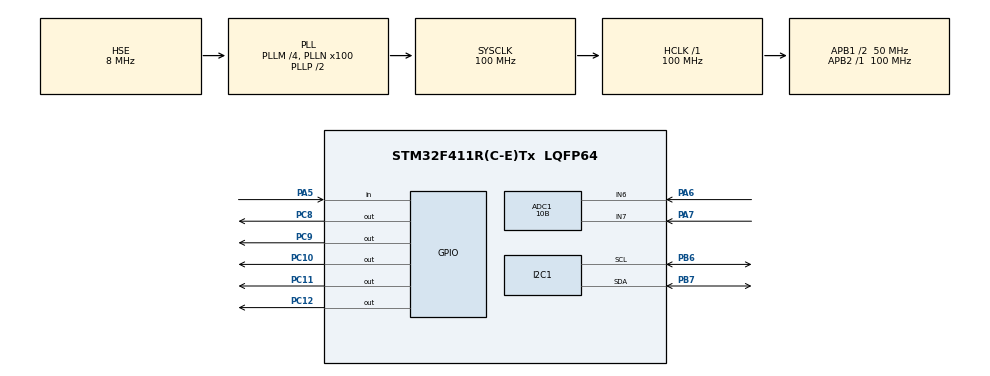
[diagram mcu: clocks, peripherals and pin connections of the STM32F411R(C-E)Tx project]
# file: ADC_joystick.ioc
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ADC1.Channel-0\#ChannelRegularConversion=ADC_CHANNEL_7
ADC1.Channel-1\#ChannelRegularConversion=ADC_CHANNEL_6
ADC1.ContinuousConvMode=ENABLE
ADC1.DMAContinuousRequests=ENABLE
ADC1.NbrOfConversion=2
ADC1.NbrOfConversionFlag=1
ADC1.Rank-0\#ChannelRegularConversion=1
ADC1.Rank-1\#ChannelRegularConversion=2
ADC1.Resolution=ADC_RESOLUTION_10B
ADC1.SamplingTime-0\#ChannelRegularConversion=ADC_SAMPLETIME_144CYCLES
ADC1.SamplingTime-1\#ChannelRegularConversion=ADC_SAMPLETIME_144CYCLES
ADC1.ScanConvMode=ENABLE
ADC1.master=1
Dma.ADC1.0.Direction=DMA_PERIPH_TO_MEMORY
Dma.ADC1.0.FIFOMode=DMA_FIFOMODE_DISABLE
Dma.ADC1.0.Instance=DMA2_Stream0
Dma.ADC1.0.MemDataAlignment=DMA_MDATAALIGN_HALFWORD
Dma.ADC1.0.MemInc=DMA_MINC_ENABLE
Dma.ADC1.0.Mode=DMA_CIRCULAR
Dma.ADC1.0.PeriphDataAlignment=DMA_PDATAALIGN_HALFWORD
Dma.ADC1.0.PeriphInc=DMA_PINC_DISABLE
Dma.ADC1.0.Priority=DMA_PRIORITY_LOW
Dma.Request0=ADC1
Mcu.Family=STM32F4
Mcu.Name=STM32F411R(C-E)Tx
Mcu.Package=LQFP64
NVIC.DMA2_Stream0_IRQn=true\:0\:0\:false\:false\:true\:false\:true\:true
NVIC.PriorityGroup=NVIC_PRIORITYGROUP_4
PA13.Mode=Serial_Wire
PA13.Signal=SYS_JTMS-SWDIO
PA14.Mode=Serial_Wire
PA14.Signal=SYS_JTCK-SWCLK
PA5.GPIO_PuPd=GPIO_PULLUP
PA5.Signal=GPIO_Input
PA6.Signal=ADCx_IN6
PA7.Signal=ADCx_IN7
PB6.Mode=I2C
PB6.Signal=I2C1_SCL
PB7.Mode=I2C
PB7.Signal=I2C1_SDA
PC10.Signal=GPIO_Output
PC11.Signal=GPIO_Output
PC12.Signal=GPIO_Output
PC8.Signal=GPIO_Output
PC9.Signal=GPIO_Output
PH0\ -\ OSC_IN.Mode=HSE-External-Oscillator
PH0\ -\ OSC_IN.Signal=RCC_OSC_IN
PH1\ -\ OSC_OUT.Mode=HSE-External-Oscillator
PH1\ -\ OSC_OUT.Signal=RCC_OSC_OUT
ProjectManager.HeapSize=0x200
ProjectManager.StackSize=0x400
ProjectManager.TargetToolchain=STM32CubeIDE
RCC.48MHZClocksFreq_Value=50000000
RCC.AHBFreq_Value=100000000
RCC.APB1CLKDivider=RCC_HCLK_DIV2
RCC.APB1Freq_Value=50000000
RCC.APB1TimFreq_Value=100000000
RCC.APB2Freq_Value=100000000
RCC.APB2TimFreq_Value=100000000
RCC.CortexFreq_Value=100000000
RCC.HCLKFreq_Value=100000000
RCC.HSE_VALUE=8000000
RCC.HSI_VALUE=16000000
RCC.LSE_VALUE=32768
RCC.PLLM=4
RCC.PLLN=100
RCC.PLLSourceVirtual=RCC_PLLSOURCE_HSE
RCC.SYSCLKFreq_VALUE=100000000
RCC.SYSCLKSource=RCC_SYSCLKSOURCE_PLLCLK
RCC.VCOOutputFreq_Value=200000000
SH.ADCx_IN6.0=ADC1_IN6,IN6
SH.ADCx_IN7.0=ADC1_IN7,IN7
board=custom

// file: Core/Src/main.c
/* USER CODE BEGIN Header */
/**
  ******************************************************************************
  * @file           : main.c
  * @brief          : Main program body
  ******************************************************************************
  * @attention
  *
  * Copyright (c) 2023 STMicroelectronics.
  * All rights reserved.
  *
  * This software is licensed under terms that can be found in the LICENSE file
  * in the root directory of this software component.
  * If no LICENSE file comes with this software, it is provided AS-IS.
  *
  ******************************************************************************
  */
/* USER CODE END Header */
#include "main.h"
#include "adc.h"
#include "dma.h"
#include "i2c.h"
#include "gpio.h"

/* USER CODE BEGIN Includes */
#include "stdio.h"
#include "I2C_LCD.h"
/* USER CODE END Includes */

/* USER CODE BEGIN PV */
uint16_t adcValue[2];
int flag =0;
int row=0;
int col=0;
uint8_t buff[30];
/* USER CODE END PV */

void SystemClock_Config(void);
/* USER CODE BEGIN PFP */
void clear(uint8_t* b)
{
  for(int i=0; i<29; i++)
  {
    b[i]=' ';
  }
}
/* USER CODE END PFP */

int main(void)
{

  /* MCU Configuration--------------------------------------------------------*/

  /* Reset of all peripherals, Initializes the Flash interface and the Systick. */
  HAL_Init();

  /* Configure the system clock */
  SystemClock_Config();

  /* Initialize all configured peripherals */
  MX_GPIO_Init();
  MX_DMA_Init();
  MX_ADC1_Init();
  MX_I2C1_Init();
  /* USER CODE BEGIN 2 */
  HAL_ADC_Start_DMA(&hadc1, adcValue, 2);
  HAL_Delay(1000);
  lcd_init();
  HAL_Delay(1000);
  /* USER CODE END 2 */

  /* Infinite loop */
  while (1)
  {

    /* USER CODE BEGIN 3 */
    clear(buff);
    if (adcValue[1]>900)
    {
      clear(buff);
      HAL_GPIO_WritePin(GPIOC, GPIO_PIN_10, SET);
      sprintf(buff,"UP   ");

    }
    else
    {

      HAL_GPIO_WritePin(GPIOC, GPIO_PIN_10, RESET);

    }
    if (adcValue[1]<100)
    {
      clear(buff);
      HAL_GPIO_WritePin(GPIOC, GPIO_PIN_11, SET);

      sprintf(buff,"DOWN   ");
    }
    else
    {

      HAL_GPIO_WritePin(GPIOC, GPIO_PIN_11, RESET);

    }
    if (adcValue[0]>900)
    {
      clear(buff);
      HAL_GPIO_WritePin(GPIOC, GPIO_PIN_9, SET);

      sprintf(buff,"RIGHT   ");
    }
    else
    {

      HAL_GPIO_WritePin(GPIOC, GPIO_PIN_9, RESET);

    }
    if (adcValue[0]<100)
    {
      clear(buff);
      HAL_GPIO_WritePin(GPIOC, GPIO_PIN_8, SET);
      sprintf(buff,"LEFT   ");

    }
    else
    {

      HAL_GPIO_WritePin(GPIOC, GPIO_PIN_8, RESET);

    }
    if(!HAL_GPIO_ReadPin(GPIOA, GPIO_PIN_5))
    {
      sprintf(buff,"BUTTON");
      if(flag==0){
      HAL_GPIO_TogglePin(GPIOC, GPIO_PIN_12);

      flag=1;
      }
    }else
      {
        flag=0;

      }
    lcd_put_cur(1, 0);
    lcd_send_string(buff);
    HAL_Delay(50);

  }
  /* USER CODE END 3 */
}

void SystemClock_Config(void)
{
  RCC_OscInitTypeDef RCC_OscInitStruct = {0};
  RCC_ClkInitTypeDef RCC_ClkInitStruct = {0};

  /** Configure the main internal regulator output voltage
  */
  __HAL_RCC_PWR_CLK_ENABLE();
  __HAL_PWR_VOLTAGESCALING_CONFIG(PWR_REGULATOR_VOLTAGE_SCALE1);

  /** Initializes the RCC Oscillators according to the specified parameters
  * in the RCC_OscInitTypeDef structure.
  */
  RCC_OscInitStruct.OscillatorType = RCC_OSCILLATORTYPE_HSE;
  RCC_OscInitStruct.HSEState = RCC_HSE_ON;
  RCC_OscInitStruct.PLL.PLLState = RCC_PLL_ON;
  RCC_OscInitStruct.PLL.PLLSource = RCC_PLLSOURCE_HSE;
  RCC_OscInitStruct.PLL.PLLM = 4;
  RCC_OscInitStruct.PLL.PLLN = 100;
  RCC_OscInitStruct.PLL.PLLP = RCC_PLLP_DIV2;
  RCC_OscInitStruct.PLL.PLLQ = 4;
  if (HAL_RCC_OscConfig(&RCC_OscInitStruct) != HAL_OK)
  {
    Error_Handler();
  }

  /** Initializes the CPU, AHB and APB buses clocks
  */
  RCC_ClkInitStruct.ClockType = RCC_CLOCKTYPE_HCLK|RCC_CLOCKTYPE_SYSCLK
                              |RCC_CLOCKTYPE_PCLK1|RCC_CLOCKTYPE_PCLK2;
  RCC_ClkInitStruct.SYSCLKSource = RCC_SYSCLKSOURCE_PLLCLK;
  RCC_ClkInitStruct.AHBCLKDivider = RCC_SYSCLK_DIV1;
  RCC_ClkInitStruct.APB1CLKDivider = RCC_HCLK_DIV2;
  RCC_ClkInitStruct.APB2CLKDivider = RCC_HCLK_DIV1;

  if (HAL_RCC_ClockConfig(&RCC_ClkInitStruct, FLASH_LATENCY_3) != HAL_OK)
  {
    Error_Handler();
  }
}

void Error_Handler(void)
{
  __disable_irq();
  while (1)
  {
  }
}
